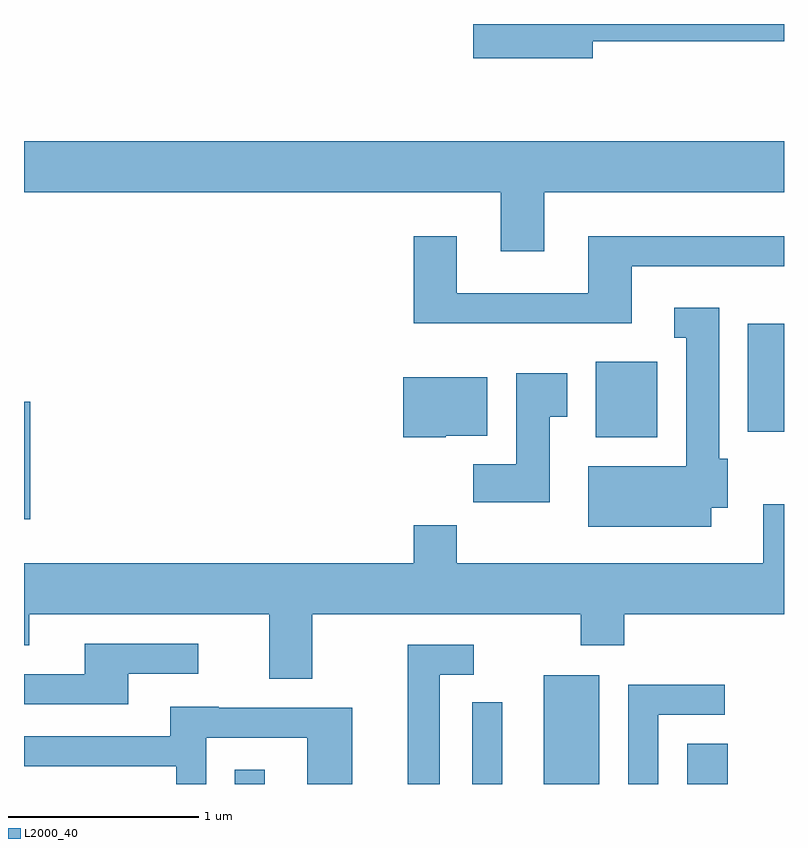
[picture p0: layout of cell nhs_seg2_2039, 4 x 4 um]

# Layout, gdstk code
import gdstk
lib = gdstk.Library(unit=1e-6, precision=1e-09)
def R(c, l, rs):  # rectangles x0, y0, x1, y1
    for r in rs: c.add(gdstk.rectangle(r[:2], r[2:], *l))
def P(c, l, *ps):  # polygons
    for p in ps: c.add(gdstk.Polygon(p, *l))
L2000_40 = (2000, 40)

nhs_seg2_2039 = lib.new_cell('nhs_seg2_2039')
R(nhs_seg2_2039, L2000_40, [(244.721,1111.802,244.879,1111.878), (245.971,1111.802,246.129,1112.233), (246.346,1111.802,246.639,1112.374), (247.101,1111.802,247.314,1112.014), (243.611,1113.196,243.644,1113.814), (246.621,1113.626,246.944,1114.024), (247.421,1113.656,247.611,1114.224)])
P(nhs_seg2_2039, L2000_40, [(246.604,1115.711),(247.611,1115.711),(247.611,1115.802),(245.976,1115.802),(245.976,1115.621),(246.604,1115.621)],
  [(246.349,1114.916),(247.611,1114.916),(247.611,1115.184),(243.611,1115.184),(243.611,1114.916),(246.121,1114.916),(246.121,1114.606),(246.349,1114.606)],
  [(246.809,1114.526),(247.611,1114.526),(247.611,1114.684),(246.581,1114.684),(246.581,1114.384),(245.889,1114.384),(245.889,1114.684),(245.661,1114.684),(245.661,1114.226),(246.809,1114.226)],
  [(247.229,1113.256),(247.314,1113.256),(247.314,1113.514),(247.269,1113.514),(247.269,1114.309),(247.033,1114.309),(247.033,1114.151),(247.096,1114.151),(247.096,1113.474),(246.581,1113.474),(246.581,1113.156),(247.229,1113.156)],
  [(246.379,1113.736),(246.469,1113.736),(246.469,1113.964),(246.201,1113.964),(246.201,1113.484),(245.976,1113.484),(245.976,1113.286),(246.379,1113.286)],
  [(245.83,1113.636),(246.049,1113.636),(246.049,1113.944),(245.606,1113.944),(245.606,1113.626),(245.83,1113.626)],
  [(243.611,1112.531),(243.639,1112.531),(243.639,1112.696),(244.901,1112.696),(244.901,1112.356),(245.129,1112.356),(245.129,1112.696),(246.541,1112.696),(246.541,1112.531),(246.769,1112.531),(246.769,1112.696),(247.611,1112.696),(247.611,1113.274),(247.501,1113.274),(247.501,1112.964),(245.889,1112.964),(245.889,1113.164),(245.661,1113.164),(245.661,1112.964),(243.611,1112.964)],
  [(244.159,1112.381),(244.528,1112.381),(244.528,1112.539),(243.931,1112.539),(243.931,1112.379),(243.611,1112.379),(243.611,1112.221),(244.159,1112.221)],
  [(245.799,1112.376),(245.978,1112.376),(245.978,1112.534),(245.631,1112.534),(245.631,1111.802),(245.799,1111.802)],
  [(246.949,1112.166),(247.298,1112.166),(247.298,1112.324),(246.791,1112.324),(246.791,1111.802),(246.949,1111.802)],
  [(244.569,1112.046),(245.101,1112.046),(245.101,1111.802),(245.339,1111.802),(245.339,1112.204),(244.635,1112.204),(244.635,1112.209),(244.381,1112.209),(244.381,1112.054),(243.611,1112.054),(243.611,1111.896),(244.411,1111.896),(244.411,1111.802),(244.569,1111.802)])

lib.write_gds('nhs_seg2_2039.gds')
